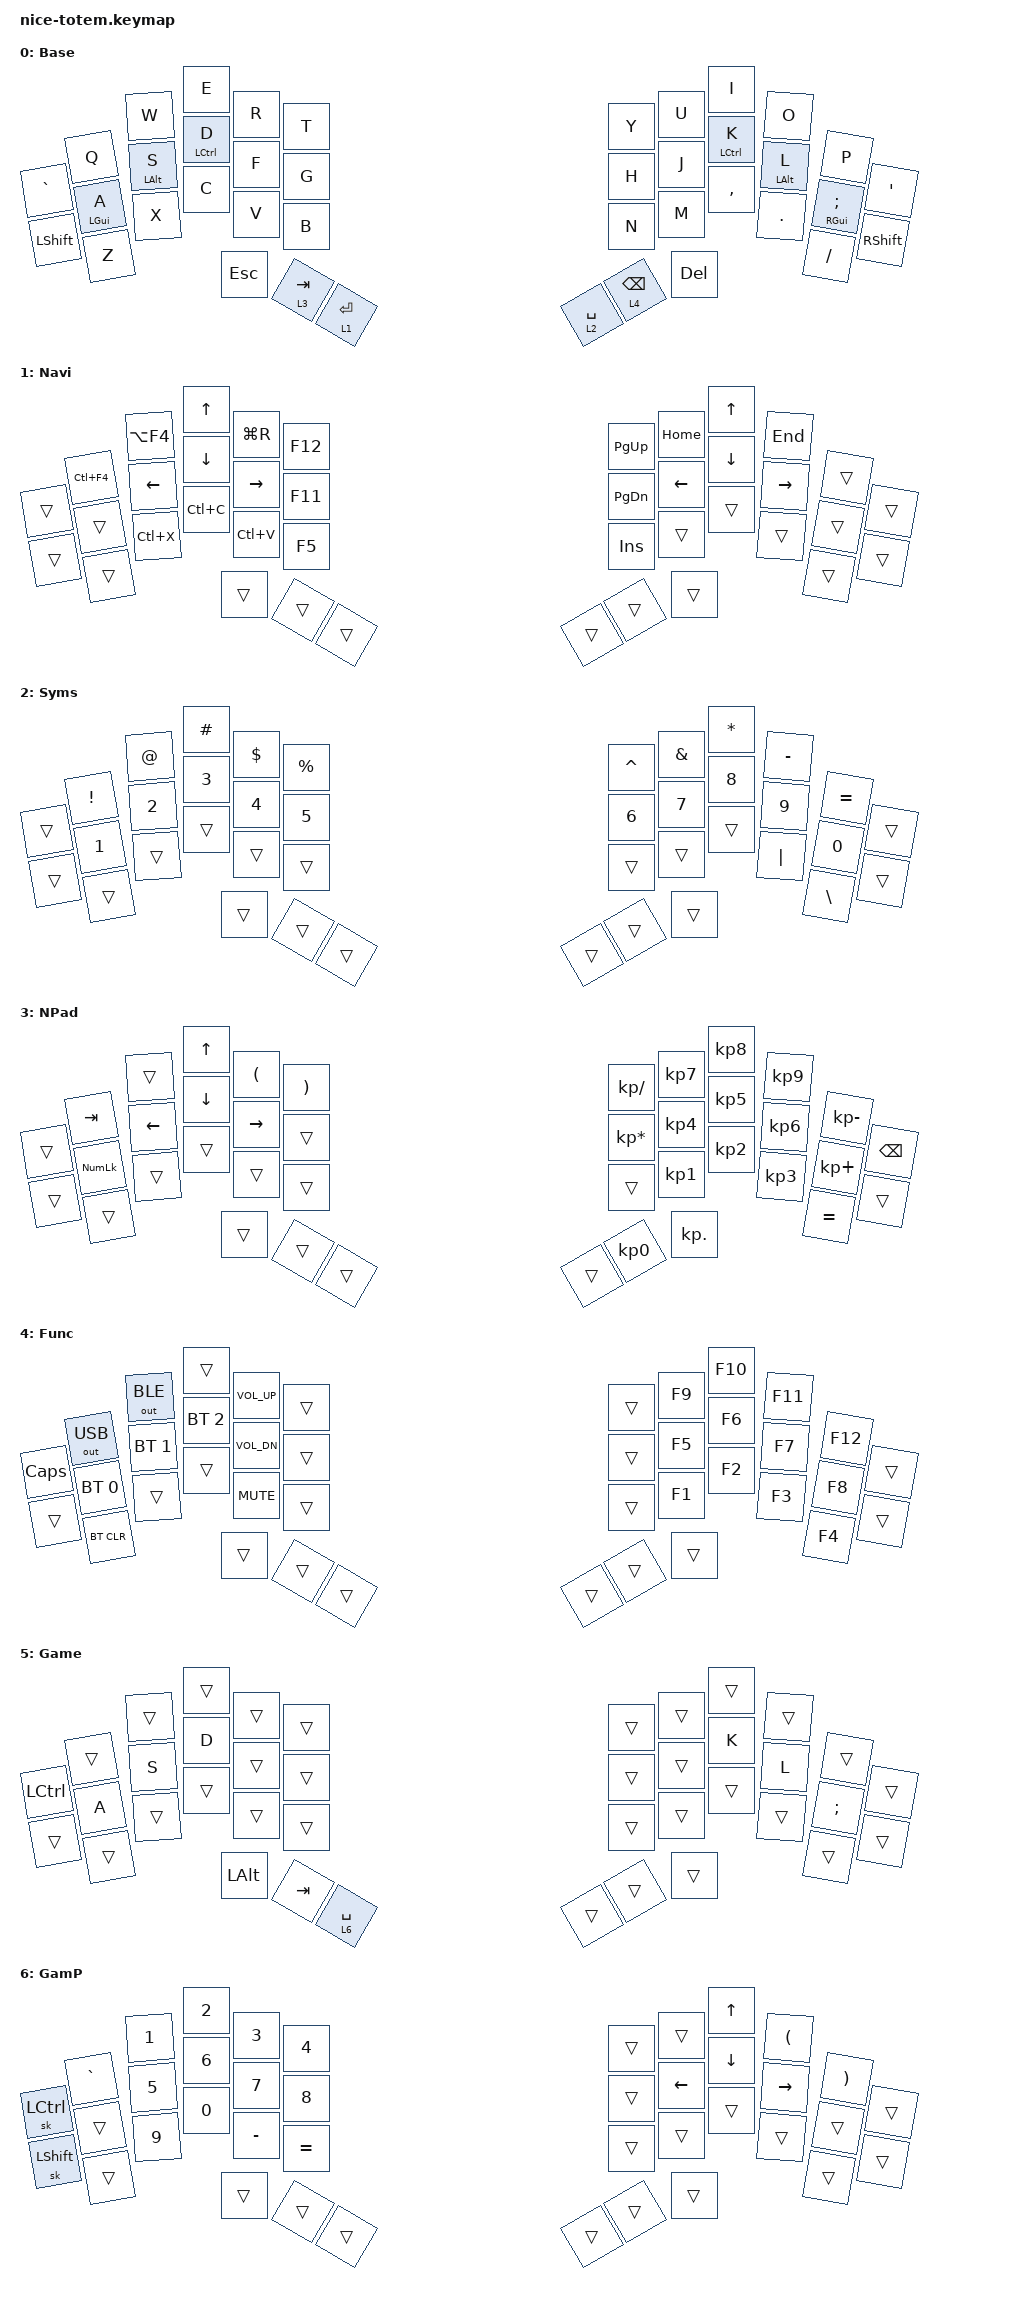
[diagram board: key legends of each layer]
#include <behaviors.dtsi>
#include <dt-bindings/zmk/keys.h>
#include <dt-bindings/zmk/bt.h>
#include <dt-bindings/zmk/outputs.h>

#define Base 0
#define Navi 1
#define Syms 2
#define NPad 3
#define Func 4
#define Game 5
#define GamP 6

&lt { quick_tap_ms = <180>; };

/ {

    behaviors {
        td_lpar_lbkt: td_lpar_lbkt {
            compatible = "zmk,behavior-tap-dance";
            #binding-cells = <0>;
            tapping-term-ms = <200>;
            bindings = <&kp LPAR>, <&kp LBKT>;
        };

        td_rpar_rbkt: td_rpar_rbkt {
            compatible = "zmk,behavior-tap-dance";
            #binding-cells = <0>;
            tapping-term-ms = <200>;
            bindings = <&kp RPAR>, <&kp RBKT>;
        };

        hm: homerow_mods {
            compatible = "zmk,behavior-hold-tap";
            label = "HOMEROW_MODS";
            #binding-cells = <2>;
            flavor = "tap-preferred";
            tapping-term-ms = <200>;
            quick-tap-ms = <125>;
            global-quick-tap;
            bindings = <&kp>, <&kp>;
        };
    };

    combos {
        compatible = "zmk,combos";

        combo_lbrc {
            timeout-ms = <50>;
            key-positions = <3 4>;
            bindings = <&kp LBRC>;
        };

        combo_rbrc {
            timeout-ms = <50>;
            key-positions = <5 6>;
            bindings = <&kp RBRC>;
        };

        combo_lpar_lbkt {
            timeout-ms = <50>;
            key-positions = <14 15>;
            bindings = <&td_lpar_lbkt>;
        };

        combo_rpar_rbkt {
            timeout-ms = <50>;
            key-positions = <16 17>;
            bindings = <&td_rpar_rbkt>;
        };

        combo_space {
            timeout-ms = <50>;
            key-positions = <26 27>;
            bindings = <&kp SPACE>;
        };

        combo_right_b {
            timeout-ms = <50>;
            key-positions = <28 29>;
            bindings = <&kp B>;
        };

        combo_hanyeong {
            timeout-ms = <50>;
            key-positions = <30 31>;
            bindings = <&kp RALT>;
        };

        combo_hanja {
            timeout-ms = <50>;
            key-positions = <31 32>;
            bindings = <&kp RCTRL>;
        };

        combo_toggle_game_layer {
            timeout-ms = <50>;
            key-positions = <10 16>;
            layers = <1 6>;
            bindings = <&tog 5>;
        };

        combo_enter_gameonly {
            timeout-ms = <50>;
            key-positions = <19 20>;
            layers = <5>;
            bindings = <&kp ENTER>;
        };

        combo_esc_gameonly {
            timeout-ms = <50>;
            key-positions = <0 1>;
            layers = <6>;
            bindings = <&kp ESC>;
        };
    };

    keymap {
        compatible = "zmk,keymap";

        Base {
            display-name = "Base";
            label = "Base";
            bindings = <
                            &kp Q           &kp W           &kp E           &kp R           &kp T                           &kp Y           &kp U           &kp I           &kp O           &kp P               
            &kp GRAVE       &hm LGUI A      &hm LALT S      &hm LCTRL D     &kp F           &kp G                           &kp H           &kp J           &hm LCTRL K     &hm LALT L      &hm RGUI SEMI   &kp SQT
            &kp LSHIFT      &kp Z           &kp X           &kp C           &kp V           &kp B                           &kp N           &kp M           &kp COMMA       &kp DOT         &kp SLASH       &kp RSHIFT
                                                            &kp ESC         &lt 3 TAB       &lt 1 ENTER                     &lt 2 SPACE     &lt 4 BSPC      &kp DEL
            >;
        };

        Navi {
            display-name = "Navi";
            label = "Navi";
            bindings = <
                            &kp LC(F4)      &kp LA(F4)      &kp UP          &kp LG(R)       &kp F12                         &kp PG_UP       &kp HOME        &kp UP          &kp END         &trans                  
            &trans          &trans          &kp LEFT        &kp DOWN        &kp RIGHT       &kp F11                         &kp PG_DN       &kp LEFT        &kp DOWN        &kp RIGHT       &trans          &trans
            &trans          &trans          &kp LC(X)       &kp LC(C)       &kp LC(V)       &kp F5                          &kp INS         &trans          &trans          &trans          &trans          &trans
                                                            &trans          &trans          &trans                          &trans          &trans          &trans
            >;
        };

        Syms {
            display-name = "Syms";
            label = "Syms";
            bindings = <
                            &kp EXCL        &kp AT          &kp HASH        &kp DLLR        &kp PRCNT                      &kp CARET       &kp AMPS        &kp ASTRK       &kp MINUS        &kp EQUAL  
            &trans          &kp N1          &kp N2          &kp N3          &kp N4          &kp N5                         &kp N6          &kp N7          &kp N8          &kp N9           &kp N0          &trans
            &trans          &trans          &trans          &trans          &trans          &trans                         &trans          &trans          &trans          &kp PIPE         &kp BSLH        &trans
                                                            &trans          &trans          &trans                         &trans          &trans          &trans
            >;
        };

        NPad {
            display-name = "NPad";
            label = "NPad";
            bindings = <
                            &kp TAB         &trans          &kp UP          &kp LPAR        &kp RPAR                       &kp KP_DIVIDE   &kp KP_N7       &kp KP_N8       &kp KP_N9       &kp KP_MINUS              
            &trans          &kp KP_NLCK     &kp LEFT        &kp DOWN        &kp RIGHT       &trans                         &kp KP_ASTERISK &kp KP_N4       &kp KP_N5       &kp KP_N6       &kp KP_PLUS     &kp BSPC
            &trans          &trans          &trans          &trans          &trans          &trans                         &trans          &kp KP_N1       &kp KP_N2       &kp KP_N3       &kp EQUAL       &trans
                                                            &trans          &trans          &trans                         &trans          &kp KP_N0       &kp KP_DOT
            >;
        };

        Func {
            display-name = "Func";
            label = "Func";
            bindings = <
                            &out OUT_USB    &out OUT_BLE    &trans          &kp C_VOL_UP    &trans                         &trans          &kp F9          &kp F10         &kp F11         &kp F12  
            &kp CAPS        &bt BT_SEL 0    &bt BT_SEL 1    &bt BT_SEL 2    &kp C_VOL_DN    &trans                         &trans          &kp F5          &kp F6          &kp F7          &kp F8          &trans
            &trans          &bt BT_CLR      &trans          &trans          &kp C_MUTE      &trans                         &trans          &kp F1          &kp F2          &kp F3          &kp F4          &trans
                                                            &trans          &trans          &trans                         &trans          &trans          &trans
                                                                                                                                                                                                    
            >;
        };

        Game {
            display-name = "Game";
            label = "Game";
            bindings = <
                            &trans          &trans          &trans          &trans          &trans                          &trans          &trans          &trans          &trans          &trans   
            &kp LCTRL       &kp A           &kp S           &kp D           &trans          &trans                          &trans          &trans          &kp K           &kp L           &kp SEMI        &trans
            &trans          &trans          &trans          &trans          &trans          &trans                          &trans          &trans          &trans          &trans          &trans          &trans
                                                            &kp LALT        &kp TAB         &lt 6 SPACE                     &trans          &trans          &trans
            >;
        };

        GamP {
            display-name = "GamP";
            label = "GamP";
            bindings = <   
                            &kp GRAVE       &kp N1          &kp N2          &kp N3          &kp N4                          &trans          &trans          &kp UP          &kp LPAR        &kp RPAR
            &sk LCTRL       &trans          &kp N5          &kp N6          &kp N7          &kp N8                          &trans          &kp LEFT        &kp DOWN        &kp RIGHT       &trans          &trans
            &sk LSHIFT      &trans          &kp N9          &kp N0          &kp MINUS       &kp EQUAL                       &trans          &trans          &trans          &trans          &trans          &trans
                                                            &trans          &trans          &trans                          &trans          &trans          &trans
            >;
        };
    };
};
